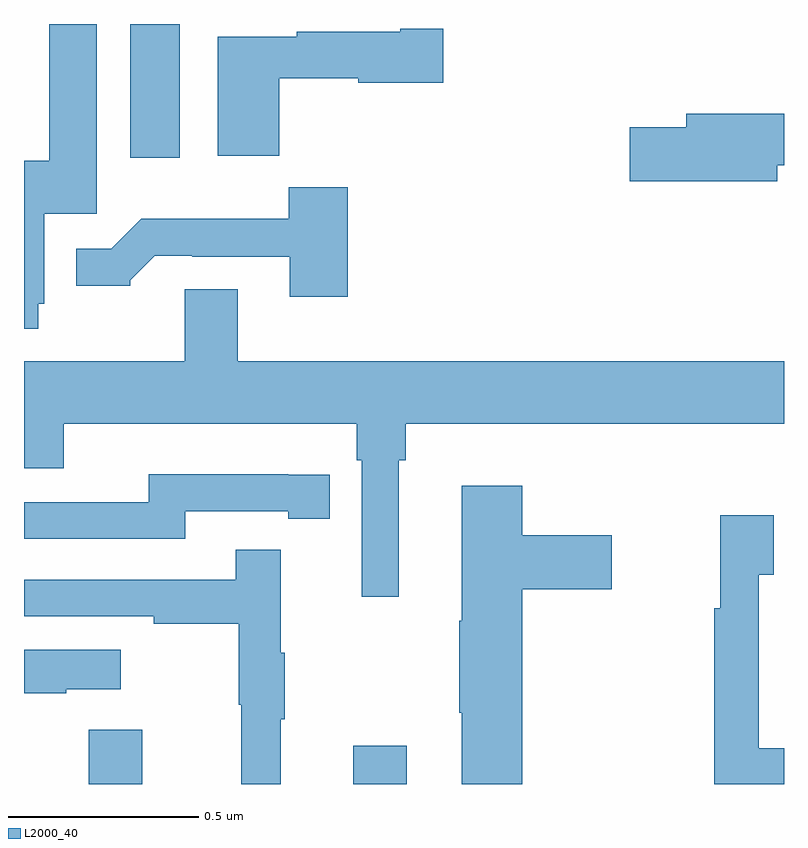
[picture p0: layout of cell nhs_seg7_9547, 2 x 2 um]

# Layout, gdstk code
import gdstk
lib = gdstk.Library(unit=1e-6, precision=1e-09)
def R(c, l, rs):  # rectangles x0, y0, x1, y1
    for r in rs: c.add(gdstk.rectangle(r[:2], r[2:], *l))
def P(c, l, *ps):  # polygons
    for p in ps: c.add(gdstk.Polygon(p, *l))
L2000_40 = (2000, 40)

nhs_seg7_9547 = lib.new_cell('nhs_seg7_9547')
R(nhs_seg7_9547, L2000_40, [(239.171,1001,239.311,1001.143), (239.867,1001,240.007,1001.101), (239.279,1002.648,239.41,1003)])
P(nhs_seg7_9547, L2000_40, [(239.037,1002.264),(239.053,1002.264),(239.053,1002.501),(239.191,1002.501),(239.191,1003),(239.066,1003),(239.066,1002.64),(239,1002.64),(239,1002.198),(239.037,1002.198)],
  [(239.672,1002.857),(239.88,1002.857),(239.88,1002.845),(240.103,1002.845),(240.103,1002.987),(239.99,1002.987),(239.99,1002.979),(239.718,1002.979),(239.718,1002.967),(239.51,1002.967),(239.51,1002.653),(239.672,1002.653)],
  [(240.982,1002.628),(241,1002.628),(241,1002.764),(240.743,1002.764),(240.743,1002.728),(240.594,1002.728),(240.594,1002.586),(240.982,1002.586)],
  [(239.852,1002.571),(239.697,1002.571),(239.697,1002.487),(239.308,1002.487),(239.229,1002.408),(239.138,1002.408),(239.138,1002.311),(239.28,1002.311),(239.28,1002.326),(239.344,1002.39),(239.443,1002.39),(239.443,1002.387),(239.699,1002.387),(239.699,1002.282),(239.852,1002.282)],
  [(239.986,1001.852),(240.005,1001.852),(240.005,1001.948),(241,1001.948),(241,1002.112),(239.563,1002.112),(239.563,1002.302),(239.423,1002.302),(239.423,1002.112),(239,1002.112),(239,1001.831),(239.104,1001.831),(239.104,1001.948),(239.876,1001.948),(239.876,1001.852),(239.889,1001.852),(239.889,1001.493),(239.986,1001.493)],
  [(239.424,1001.718),(239.696,1001.718),(239.696,1001.698),(239.804,1001.698),(239.804,1001.814),(239.696,1001.814),(239.696,1001.815),(239.328,1001.815),(239.328,1001.742),(239,1001.742),(239,1001.646),(239.424,1001.646)],
  [(240.311,1001.513),(240.547,1001.513),(240.547,1001.655),(240.311,1001.655),(240.311,1001.785),(240.152,1001.785),(240.152,1001.429),(240.145,1001.429),(240.145,1001.188),(240.152,1001.188),(240.152,1001),(240.311,1001)],
  [(241,1001.094),(240.933,1001.094),(240.933,1001.551),(240.973,1001.551),(240.973,1001.707),(240.832,1001.707),(240.832,1001.462),(240.817,1001.462),(240.817,1001),(241,1001)],
  [(239.675,1001.171),(239.686,1001.171),(239.686,1001.345),(239.675,1001.345),(239.675,1001.617),(239.557,1001.617),(239.557,1001.538),(239,1001.538),(239,1001.442),(239.341,1001.442),(239.341,1001.422),(239.565,1001.422),(239.565,1001.208),(239.572,1001.208),(239.572,1001),(239.675,1001)],
  [(239.111,1001.249),(239.254,1001.249),(239.254,1001.353),(239,1001.353),(239,1001.239),(239.111,1001.239)])

lib.write_gds('nhs_seg7_9547.gds')
